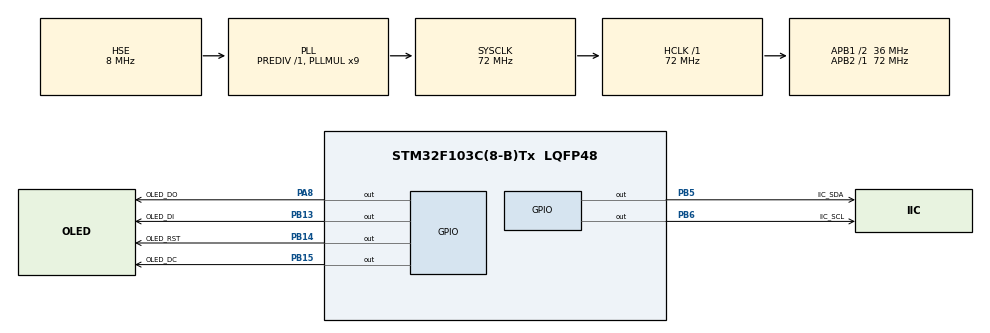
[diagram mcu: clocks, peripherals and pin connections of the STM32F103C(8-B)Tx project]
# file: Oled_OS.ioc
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FREERTOS.Tasks01=defaultTask,0,128,StartDefaultTask,Default,NULL,Dynamic,NULL,NULL;myTask02,-3,128,StartTask02,Default,NULL,Dynamic,NULL,NULL
Mcu.Family=STM32F1
Mcu.Name=STM32F103C(8-B)Tx
Mcu.Package=LQFP48
NVIC.PriorityGroup=NVIC_PRIORITYGROUP_4
NVIC.TIM1_UP_IRQn=true\:15\:0\:false\:false\:true\:false\:false\:true\:true
NVIC.TimeBase=TIM1_UP_IRQn
NVIC.TimeBaseIP=TIM1
PA13.Mode=Serial_Wire
PA13.Signal=SYS_JTMS-SWDIO
PA14.Mode=Serial_Wire
PA14.Signal=SYS_JTCK-SWCLK
PA8.GPIO_Label=OLED_DO
PA8.Signal=GPIO_Output
PB13.GPIO_Label=OLED_DI
PB13.Signal=GPIO_Output
PB14.GPIO_Label=OLED_RST
PB14.Signal=GPIO_Output
PB15.GPIO_Label=OLED_DC
PB15.Signal=GPIO_Output
PB5.GPIO_Label=IIC_SDA
PB5.Signal=GPIO_Output
PB6.GPIO_Label=IIC_SCL
PB6.Signal=GPIO_Output
PC14-OSC32_IN.Mode=LSE-External-Oscillator
PC14-OSC32_IN.Signal=RCC_OSC32_IN
PC15-OSC32_OUT.Mode=LSE-External-Oscillator
PC15-OSC32_OUT.Signal=RCC_OSC32_OUT
PD0-OSC_IN.Mode=HSE-External-Oscillator
PD0-OSC_IN.Signal=RCC_OSC_IN
PD1-OSC_OUT.Mode=HSE-External-Oscillator
PD1-OSC_OUT.Signal=RCC_OSC_OUT
ProjectManager.HeapSize=0x200
ProjectManager.StackSize=0x400
ProjectManager.TargetToolchain=MDK-ARM V5.32
RCC.AHBFreq_Value=72000000
RCC.APB1CLKDivider=RCC_HCLK_DIV2
RCC.APB1Freq_Value=36000000
RCC.APB1TimFreq_Value=72000000
RCC.APB2Freq_Value=72000000
RCC.APB2TimFreq_Value=72000000
RCC.HCLKFreq_Value=72000000
RCC.PLLMUL=RCC_PLL_MUL9
RCC.PLLSourceVirtual=RCC_PLLSOURCE_HSE
RCC.SYSCLKFreq_VALUE=72000000
RCC.SYSCLKSource=RCC_SYSCLKSOURCE_PLLCLK
RCC.USBFreq_Value=72000000
VP_FREERTOS_VS_CMSIS_V1.Mode=CMSIS_V1
VP_SYS_VS_tim1.Mode=TIM1
board=custom

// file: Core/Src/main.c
/* USER CODE BEGIN Header */
/**
 ******************************************************************************
 * @file           : main.c
 * @brief          : Main program body
 ******************************************************************************
 * @attention
 *
 * Copyright (c) 2023 STMicroelectronics.
 * All rights reserved.
 *
 * This software is licensed under terms that can be found in the LICENSE file
 * in the root directory of this software component.
 * If no LICENSE file comes with this software, it is provided AS-IS.
 *
 ******************************************************************************
 */
/* USER CODE END Header */
#include "main.h"
#include "cmsis_os.h"
#include "gpio.h"

void SystemClock_Config(void);
void MX_FREERTOS_Init(void);

int main(void)
{

    /* MCU Configuration--------------------------------------------------------*/

    /* Reset of all peripherals, Initializes the Flash interface and the Systick. */
    HAL_Init();

    /* Configure the system clock */
    SystemClock_Config();

    /* Initialize all configured peripherals */
    MX_GPIO_Init();

    /* Call init function for freertos objects (in freertos.c) */
    MX_FREERTOS_Init();

    /* Start scheduler */
    osKernelStart();

    /* We should never get here as control is now taken by the scheduler */
    /* Infinite loop */
    while (1)
    {

    }
}

void SystemClock_Config(void)
{
    RCC_OscInitTypeDef RCC_OscInitStruct = {0};
    RCC_ClkInitTypeDef RCC_ClkInitStruct = {0};

    /** Initializes the RCC Oscillators according to the specified parameters
     * in the RCC_OscInitTypeDef structure.
     */
    RCC_OscInitStruct.OscillatorType = RCC_OSCILLATORTYPE_HSE;
    RCC_OscInitStruct.HSEState = RCC_HSE_ON;
    RCC_OscInitStruct.HSEPredivValue = RCC_HSE_PREDIV_DIV1;
    RCC_OscInitStruct.HSIState = RCC_HSI_ON;
    RCC_OscInitStruct.PLL.PLLState = RCC_PLL_ON;
    RCC_OscInitStruct.PLL.PLLSource = RCC_PLLSOURCE_HSE;
    RCC_OscInitStruct.PLL.PLLMUL = RCC_PLL_MUL9;
    if (HAL_RCC_OscConfig(&RCC_OscInitStruct) != HAL_OK)
    {
        Error_Handler();
    }

    /** Initializes the CPU, AHB and APB buses clocks
     */
    RCC_ClkInitStruct.ClockType = RCC_CLOCKTYPE_HCLK | RCC_CLOCKTYPE_SYSCLK | RCC_CLOCKTYPE_PCLK1 | RCC_CLOCKTYPE_PCLK2;
    RCC_ClkInitStruct.SYSCLKSource = RCC_SYSCLKSOURCE_PLLCLK;
    RCC_ClkInitStruct.AHBCLKDivider = RCC_SYSCLK_DIV1;
    RCC_ClkInitStruct.APB1CLKDivider = RCC_HCLK_DIV2;
    RCC_ClkInitStruct.APB2CLKDivider = RCC_HCLK_DIV1;

    if (HAL_RCC_ClockConfig(&RCC_ClkInitStruct, FLASH_LATENCY_2) != HAL_OK)
    {
        Error_Handler();
    }
}

void HAL_TIM_PeriodElapsedCallback(TIM_HandleTypeDef *htim)
{
    if (htim->Instance == TIM1)
    {
        HAL_IncTick();
    }
}

void Error_Handler(void)
{
    __disable_irq();
    while (1)
    {
    }
}

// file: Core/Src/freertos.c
/* USER CODE BEGIN Header */
/**
 ******************************************************************************
 * File Name          : freertos.c
 * Description        : Code for freertos applications
 ******************************************************************************
 * @attention
 *
 * Copyright (c) 2023 STMicroelectronics.
 * All rights reserved.
 *
 * This software is licensed under terms that can be found in the LICENSE file
 * in the root directory of this software component.
 * If no LICENSE file comes with this software, it is provided AS-IS.
 *
 ******************************************************************************
 */
/* USER CODE END Header */

#include "FreeRTOS.h"
#include "task.h"
#include "main.h"
#include "cmsis_os.h"

osThreadId defaultTaskHandle;
osThreadId myTask02Handle;

void StartDefaultTask(void const *argument);
void StartTask02(void const *argument);

void MX_FREERTOS_Init(void); /* (MISRA C 2004 rule 8.1) */

/* GetIdleTaskMemory prototype (linked to static allocation support) */
void vApplicationGetIdleTaskMemory(StaticTask_t **ppxIdleTaskTCBBuffer, StackType_t **ppxIdleTaskStackBuffer, uint32_t *pulIdleTaskStackSize);

/* USER CODE BEGIN GET_IDLE_TASK_MEMORY */
static StaticTask_t xIdleTaskTCBBuffer;
static StackType_t xIdleStack[configMINIMAL_STACK_SIZE];

void vApplicationGetIdleTaskMemory(StaticTask_t **ppxIdleTaskTCBBuffer, StackType_t **ppxIdleTaskStackBuffer, uint32_t *pulIdleTaskStackSize)
{
    *ppxIdleTaskTCBBuffer = &xIdleTaskTCBBuffer;
    *ppxIdleTaskStackBuffer = &xIdleStack[0];
    *pulIdleTaskStackSize = configMINIMAL_STACK_SIZE;
    /* place for user code */
}
/* USER CODE END GET_IDLE_TASK_MEMORY */

void MX_FREERTOS_Init(void)
{

    /* Create the thread(s) */
    /* definition and creation of defaultTask */
    osThreadDef(defaultTask, StartDefaultTask, osPriorityNormal, 0, 128);
    defaultTaskHandle = osThreadCreate(osThread(defaultTask), NULL);

    /* definition and creation of myTask02 */
    osThreadDef(myTask02, StartTask02, osPriorityIdle, 0, 128);
    myTask02Handle = osThreadCreate(osThread(myTask02), NULL);

}

void StartDefaultTask(void const *argument)
{
    /* USER CODE BEGIN StartDefaultTask */
    OLED_Init(); // 初始化OLED
    OLED_ShowString(0, 0, (uint8_t *)"Hello!");

    OLED_Clear();
    OLED_DrawBMP(96, 0, 128, 2, BMP2);

    OLED_ShowCHinese(0, 2, 7);  // 温度
    OLED_ShowCHinese(18, 2, 8); //
    OLED_ShowCHinese(0, 4, 9);  // 湿度
    OLED_ShowCHinese(18, 4, 8); //
    OLED_ShowChar(37, 2, ':');
    OLED_ShowChar(37, 4, ':');
    OLED_ShowChar(71, 2, '.');
    OLED_ShowChar(71, 4, '.');
    OLED_ShowChar(90, 2, 'C');
    OLED_ShowChar(90, 4, '%');
    /* Infinite loop */
    for (;;)
    {
        osDelay(1);
    }
    /* USER CODE END StartDefaultTask */
}

void StartTask02(void const *argument)
{
    /* USER CODE BEGIN StartTask02 */
    static int16_t Temperature, Humidity;
    /* Infinite loop */
    for (;;)
    {
        Temperature = HDC1080_Read_Temper();
        Humidity = HDC1080_Read_Humidi();

        OLED_ShowNum(55, 2, Temperature / 100, 2, 16);
        OLED_ShowNum(72, 2, Temperature / 10 % 10, 1, 16);
        OLED_ShowNum(80, 2, Temperature % 10, 1, 16);

        OLED_ShowNum(55, 4, Humidity / 100, 2, 16);
        OLED_ShowNum(72, 4, Humidity / 10 % 10, 1, 16);
        OLED_ShowNum(80, 4, Humidity % 10, 1, 16);
        osDelay(1000);
    }
    /* USER CODE END StartTask02 */
}
